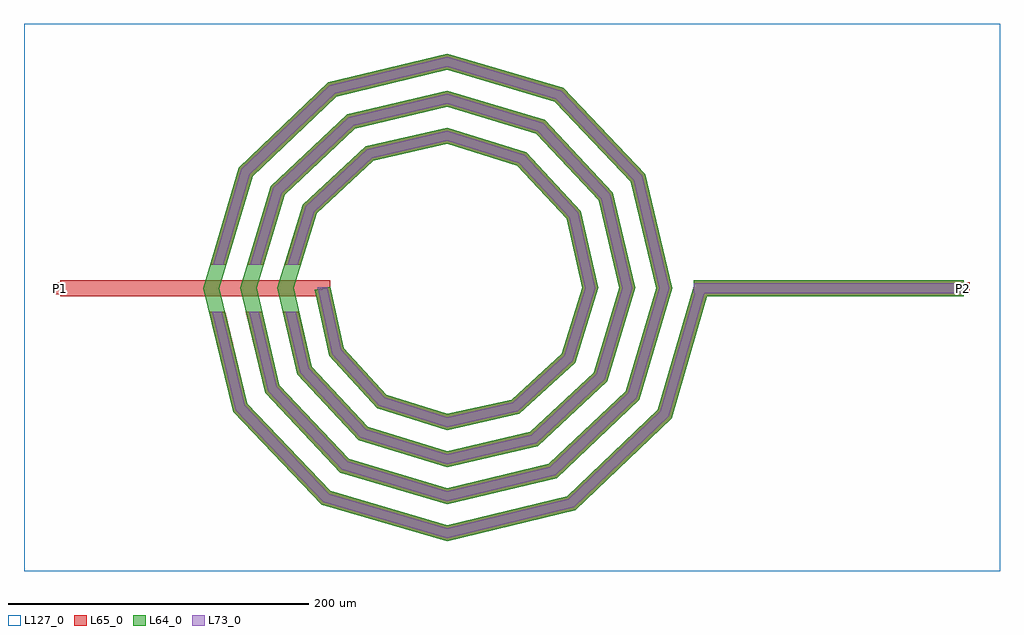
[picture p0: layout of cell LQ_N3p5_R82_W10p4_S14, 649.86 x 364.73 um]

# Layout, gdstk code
import gdstk
lib = gdstk.Library(unit=1e-6, precision=1e-09)
def R(c, l, rs):  # rectangles x0, y0, x1, y1
    for r in rs: c.add(gdstk.rectangle(r[:2], r[2:], *l))
def P(c, l, *ps):  # polygons
    for p in ps: c.add(gdstk.Polygon(p, *l))
L64_0 = (64, 0)
L65_0 = (65, 0)
L73_0 = (73, 0)
L127_0 = (127, 0)

lq_n3p5_r82_w10p4_s14 = lib.new_cell('LQ_N3p5_R82_W10p4_S14')
R(lq_n3p5_r82_w10p4_s14, L64_0, [(164.121,-5.2,344.121,5.2)])
P(lq_n3p5_r82_w10p4_s14, L64_0, [(-68.83,-40.02),(-40.632,-70.851),(0.232,-83.732),(43.09,-74.181),(76.186,-43.73),(89.901,0.217),(79.532,46.162),(46.827,81.522),(0.204,96.071),(-49.236,84.881),(-86.859,49.922),(-102.24,0.192),(-90.23,-52.311),(-53.017,-92.197),(0.181,-108.41),(55.388,-95.578),(97.535,-56.11),(114.58,0.172),(100.925,58.465),(59.202,102.874),(0.164,120.749),(-61.543,106.273),(-108.213,62.294),(-126.919,0.156),(-111.619,-64.621),(-65.385,-113.553),(0.149,-133.089),(67.7,-116.966),(118.893,-68.476),(139.259,0.143),(122.312,70.78),(71.566,124.233),(0.137,145.429),(-73.86,127.659),(-129.574,74.656),(-151.599,0.132),(-133.004,-76.94),(-77.745,-134.914),(0.127,-157.768),(80.021,-138.35),(140.255,-80.834),(164.33,1.46),(174.311,-1.46),(149.454,-86.43),(85.186,-147.797),(0.127,-168.533),(-83.349,-144.108),(-142.456,-82.097),(-162.363,0.132),(-138.762,80.268),(-79.008,137.115),(0.137,156.193),(77.188,133.416),(131.775,75.918),(150.022,0.143),(128.07,-74.108),(72.827,-126.434),(0.149,-143.852),(-71.029,-122.723),(-121.094,-69.736),(-137.682,0.156),(-117.376,67.95),(-66.645,115.754),(0.164,131.512),(64.872,112.028),(110.415,63.553),(125.342,0.172),(106.68,-61.794),(60.46,-105.076),(0.181,-119.172),(-58.717,-101.332),(-99.737,-57.366),(-113.001,0.192),(-95.983,55.642),(-54.271,94.399),(0.204,106.831),(52.567,90.633),(89.062,51.175),(100.661,0.217),(85.282,-49.494),(48.077,-83.725),(0.232,-94.49),(-46.422,-79.931),(-78.389,-44.978),(-88.02,-1.115),(-77.862,1.115)])
R(lq_n3p5_r82_w10p4_s14, L65_0, [(-257.741,-5.2,-77.741,5.2), (164.121,-5.2,344.121,5.2), (-261.741,-4,-253.741,4), (340.121,-4,348.121,4)])
P(lq_n3p5_r82_w10p4_s14, L65_0, [(-133.004,-76.94),(-77.745,-134.915),(0.127,-157.768),(80.021,-138.35),(140.255,-80.834),(164.33,1.46),(174.311,-1.46),(149.454,-86.43),(85.186,-147.797),(0.127,-168.533),(-83.349,-144.108),(-142.456,-82.097),(-158.554,-15.6),(-147.854,-15.6)],
  [(-111.619,-64.621),(-65.385,-113.553),(0.149,-133.089),(67.7,-116.966),(118.893,-68.476),(139.259,0.143),(122.312,70.78),(71.566,124.233),(0.137,145.429),(-73.86,127.659),(-129.574,74.656),(-146.966,15.6),(-157.807,15.6),(-138.762,80.269),(-79.008,137.115),(0.137,156.193),(77.188,133.416),(131.775,75.918),(150.023,0.143),(128.07,-74.108),(72.827,-126.434),(0.149,-143.852),(-71.029,-122.723),(-121.094,-69.736),(-133.943,-15.6),(-123.254,-15.6)],
  [(-90.23,-52.312),(-53.017,-92.197),(0.182,-108.41),(55.388,-95.578),(97.535,-56.11),(114.58,0.172),(100.925,58.465),(59.202,102.874),(0.164,120.749),(-61.543,106.273),(-108.213,62.294),(-122.2,15.6),(-133.056,15.6),(-117.376,67.95),(-66.645,115.755),(0.164,131.512),(64.872,112.028),(110.415,63.553),(125.342,0.172),(106.68,-61.794),(60.46,-105.076),(0.182,-119.172),(-58.718,-101.332),(-99.737,-57.366),(-109.362,-15.6),(-98.69,-15.6)],
  [(-40.632,-70.851),(0.232,-83.732),(43.09,-74.181),(76.186,-43.731),(89.901,0.217),(79.532,46.163),(46.827,81.523),(0.204,96.071),(-49.236,84.881),(-86.859,49.922),(-97.394,15.6),(-108.272,15.6),(-95.983,55.642),(-54.271,94.399),(0.204,106.831),(52.567,90.633),(89.062,51.175),(100.661,0.217),(85.283,-49.494),(48.077,-83.725),(0.232,-94.49),(-46.422,-79.931),(-78.39,-44.978),(-88.02,-1.115),(-77.862,1.115),(-68.83,-40.02)])
R(lq_n3p5_r82_w10p4_s14, L73_0, [(164.121,-3.2,344.121,3.2)])
P(lq_n3p5_r82_w10p4_s14, L73_0, [(-134.822,-77.932),(-78.823,-136.683),(0.078,-159.839),(81.014,-140.167),(142.024,-81.91),(166.249,0.899),(172.392,0.899),(147.685,-85.354),(84.193,-145.981),(0.078,-166.463),(-82.271,-142.34),(-140.639,-81.105),(-156.497,-15.6),(-149.912,-15.6)],
  [(-113.442,-65.605),(-66.47,-115.317),(0.092,-135.159),(68.686,-118.787),(120.658,-69.559),(141.329,0.088),(124.132,71.768),(72.647,125.999),(0.084,147.499),(-74.85,129.477),(-131.341,75.735),(-149.051,15.6),(-155.722,15.6),(-136.995,79.189),(-78.018,135.297),(0.084,154.123),(76.107,131.65),(129.955,74.93),(147.953,0.088),(126.305,-73.025),(71.841,-124.614),(0.092,-141.782),(-69.944,-120.96),(-119.272,-68.753),(-131.887,-15.6),(-125.309,-15.6)],
  [(-92.058,-53.284),(-54.113,-93.954),(0.112,-110.479),(56.363,-97.404),(99.294,-57.203),(116.649,0.106),(102.75,59.443),(60.293,104.635),(0.101,122.819),(-62.524,108.096),(-109.975,63.382),(-124.288,15.6),(-130.969,15.6),(-115.614,66.862),(-65.664,113.931),(0.101,129.442),(63.782,110.268),(108.59,62.574),(123.272,0.106),(104.922,-60.701),(59.484,-103.249),(0.112,-117.102),(-57.621,-99.575),(-97.909,-56.394),(-107.31,-15.6),(-100.742,-15.6)],
  [(-41.746,-72.597),(0.143,-85.801),(44.049,-76.017),(77.936,-44.839),(91.97,0.133),(81.364,47.126),(47.931,83.275),(0.125,98.14),(-50.205,86.711),(-88.614,51.022),(-99.486,15.6),(-106.18,15.6),(-94.228,54.542),(-53.303,92.569),(0.125,104.762),(51.463,88.881),(87.229,50.211),(98.591,0.133),(83.533,-48.385),(47.118,-81.89),(0.143,-92.421),(-45.309,-78.185),(-76.551,-44.024),(-86.066,0.686),(-79.815,0.686),(-70.669,-40.973)])
R(lq_n3p5_r82_w10p4_s14, L127_0, [(-281.741,-188.533,368.121,176.193)])
lq_n3p5_r82_w10p4_s14.add(gdstk.Label('P2', (344.121,0), layer=65, texttype=0))
lq_n3p5_r82_w10p4_s14.add(gdstk.Label('P1', (-257.741,0), layer=65, texttype=0))
lq_n3p5_r82_w10p4_s14.add(gdstk.Label('P2', (348.121,0), layer=145, texttype=0))
lq_n3p5_r82_w10p4_s14.add(gdstk.Label('P1', (-261.741,0), layer=145, texttype=0))

lib.write_gds('LQ_N3p5_R82_W10p4_S14.gds')
